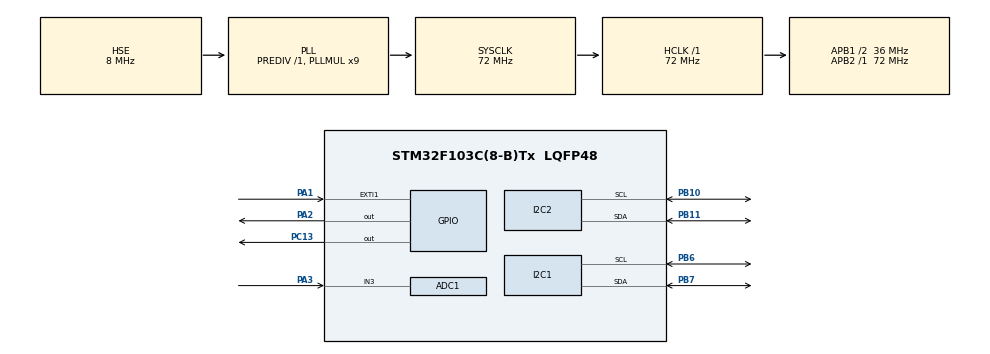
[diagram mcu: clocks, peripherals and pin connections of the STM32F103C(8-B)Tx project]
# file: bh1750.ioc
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ADC1.Channel-1\#ChannelRegularConversion=ADC_CHANNEL_3
ADC1.ContinuousConvMode=ENABLE
ADC1.NbrOfConversionFlag=1
ADC1.Rank-1\#ChannelRegularConversion=1
ADC1.SamplingTime-1\#ChannelRegularConversion=ADC_SAMPLETIME_1CYCLE_5
ADC1.master=1
FREERTOS.Tasks01=defaultTask,24,128,StartDefaultTask,Default,NULL,Dynamic,NULL,NULL;LCDTask,48,128,osLCD,Default,NULL,Dynamic,NULL,NULL;LightTask,28,128,osLight,Default,NULL,Dynamic,NULL,NULL;CounterTask,55,128,osCounter,Default,NULL,Dynamic,NULL,NULL
FREERTOS.configUSE_NEWLIB_REENTRANT=1
I2C1.I2C_Mode=I2C_Fast
I2C2.I2C_Mode=I2C_Fast
Mcu.Family=STM32F1
Mcu.Name=STM32F103C(8-B)Tx
Mcu.Package=LQFP48
NVIC.EXTI1_IRQn=true\:5\:0\:false\:false\:true\:false\:true\:true\:true
NVIC.PriorityGroup=NVIC_PRIORITYGROUP_4
NVIC.TIM1_UP_IRQn=true\:15\:0\:false\:false\:true\:false\:false\:true\:true
NVIC.TimeBase=TIM1_UP_IRQn
NVIC.TimeBaseIP=TIM1
PA1.GPIO_ModeDefaultEXTI=GPIO_MODE_IT_RISING
PA1.Signal=GPXTI1
PA13.Mode=Serial_Wire
PA13.Signal=SYS_JTMS-SWDIO
PA14.Mode=Serial_Wire
PA14.Signal=SYS_JTCK-SWCLK
PA2.GPIO_PuPd=GPIO_PULLDOWN
PA2.Signal=GPIO_Output
PA3.Signal=ADCx_IN3
PB10.Mode=I2C
PB10.Signal=I2C2_SCL
PB11.Mode=I2C
PB11.Signal=I2C2_SDA
PB6.Mode=I2C
PB6.Signal=I2C1_SCL
PB7.Mode=I2C
PB7.Signal=I2C1_SDA
PC13-TAMPER-RTC.Signal=GPIO_Output
PD0-OSC_IN.Mode=HSE-External-Oscillator
PD0-OSC_IN.Signal=RCC_OSC_IN
PD1-OSC_OUT.Mode=HSE-External-Oscillator
PD1-OSC_OUT.Signal=RCC_OSC_OUT
ProjectManager.HeapSize=0x200
ProjectManager.StackSize=0x400
ProjectManager.TargetToolchain=STM32CubeIDE
RCC.ADCPresc=RCC_ADCPCLK2_DIV6
RCC.AHBFreq_Value=72000000
RCC.APB1CLKDivider=RCC_HCLK_DIV2
RCC.APB1Freq_Value=36000000
RCC.APB1TimFreq_Value=72000000
RCC.APB2Freq_Value=72000000
RCC.APB2TimFreq_Value=72000000
RCC.HCLKFreq_Value=72000000
RCC.PLLMUL=RCC_PLL_MUL9
RCC.PLLSourceVirtual=RCC_PLLSOURCE_HSE
RCC.SYSCLKFreq_VALUE=72000000
RCC.SYSCLKSource=RCC_SYSCLKSOURCE_PLLCLK
RCC.USBFreq_Value=72000000
SH.ADCx_IN3.0=ADC1_IN3,IN3
VP_FREERTOS_VS_CMSIS_V2.Mode=CMSIS_V2
VP_SYS_VS_tim1.Mode=TIM1
board=custom

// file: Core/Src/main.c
/* USER CODE BEGIN Header */
/**
  ******************************************************************************
  * @file           : main.c
  * @brief          : Main program body
  ******************************************************************************
  * @attention
  *
  * Copyright (c) 2024 STMicroelectronics.
  * All rights reserved.
  *
  * This software is licensed under terms that can be found in the LICENSE file
  * in the root directory of this software component.
  * If no LICENSE file comes with this software, it is provided AS-IS.
  *
  ******************************************************************************
  */
/* USER CODE END Header */
#include "main.h"
#include "cmsis_os.h"

/* USER CODE BEGIN Includes */
#include "i2c-lcd.h"
#include "bh1750.h"
#include "stdio.h"
/* USER CODE END Includes */

ADC_HandleTypeDef hadc1;

I2C_HandleTypeDef hi2c1;
I2C_HandleTypeDef hi2c2;

/* Definitions for defaultTask */
osThreadId_t defaultTaskHandle;
const osThreadAttr_t defaultTask_attributes = {
  .name = "defaultTask",
  .stack_size = 128 * 4,
  .priority = (osPriority_t) osPriorityNormal,
};
/* Definitions for LCDTask */
osThreadId_t LCDTaskHandle;
const osThreadAttr_t LCDTask_attributes = {
  .name = "LCDTask",
  .stack_size = 128 * 4,
  .priority = (osPriority_t) osPriorityRealtime,
};
/* Definitions for LightTask */
osThreadId_t LightTaskHandle;
const osThreadAttr_t LightTask_attributes = {
  .name = "LightTask",
  .stack_size = 128 * 4,
  .priority = (osPriority_t) osPriorityNormal4,
};
/* Definitions for CounterTask */
osThreadId_t CounterTaskHandle;
const osThreadAttr_t CounterTask_attributes = {
  .name = "CounterTask",
  .stack_size = 128 * 4,
  .priority = (osPriority_t) osPriorityRealtime7,
};

void SystemClock_Config(void);
static void MX_GPIO_Init(void);
static void MX_I2C1_Init(void);
static void MX_I2C2_Init(void);
static void MX_ADC1_Init(void);
void StartDefaultTask(void *argument);
void osLCD(void *argument);
void osLight(void *argument);
void osCounter(void *argument);

/* USER CODE BEGIN 0 */
uint16_t value_lux = 0;
volatile uint16_t secPerHundred = 0;
volatile uint8_t sec,min = 0;
/* USER CODE END 0 */

int main(void)
{

  /* MCU Configuration--------------------------------------------------------*/

  /* Reset of all peripherals, Initializes the Flash interface and the Systick. */
  HAL_Init();

  /* Configure the system clock */
  SystemClock_Config();

  /* Initialize all configured peripherals */
  MX_GPIO_Init();
  MX_I2C1_Init();
  MX_I2C2_Init();
  MX_ADC1_Init();
  /* USER CODE BEGIN 2 */
  HAL_ADC_Start(&hadc1);
  HAL_Delay(500);
  BH1750_Init();
  BH1750_Start();
  lcd_init();
  /* USER CODE END 2 */

  /* Init scheduler */
  osKernelInitialize();

  /* Create the thread(s) */
  /* creation of defaultTask */
  defaultTaskHandle = osThreadNew(StartDefaultTask, NULL, &defaultTask_attributes);

  /* creation of LCDTask */
  LCDTaskHandle = osThreadNew(osLCD, NULL, &LCDTask_attributes);

  /* creation of LightTask */
  LightTaskHandle = osThreadNew(osLight, NULL, &LightTask_attributes);

  /* creation of CounterTask */
  CounterTaskHandle = osThreadNew(osCounter, NULL, &CounterTask_attributes);

  /* Start scheduler */
  osKernelStart();

  /* We should never get here as control is now taken by the scheduler */

  /* Infinite loop */
  while (1)
  {

  }
}

void SystemClock_Config(void)
{
  RCC_OscInitTypeDef RCC_OscInitStruct = {0};
  RCC_ClkInitTypeDef RCC_ClkInitStruct = {0};
  RCC_PeriphCLKInitTypeDef PeriphClkInit = {0};

  /** Initializes the RCC Oscillators according to the specified parameters
  * in the RCC_OscInitTypeDef structure.
  */
  RCC_OscInitStruct.OscillatorType = RCC_OSCILLATORTYPE_HSE;
  RCC_OscInitStruct.HSEState = RCC_HSE_ON;
  RCC_OscInitStruct.HSEPredivValue = RCC_HSE_PREDIV_DIV1;
  RCC_OscInitStruct.HSIState = RCC_HSI_ON;
  RCC_OscInitStruct.PLL.PLLState = RCC_PLL_ON;
  RCC_OscInitStruct.PLL.PLLSource = RCC_PLLSOURCE_HSE;
  RCC_OscInitStruct.PLL.PLLMUL = RCC_PLL_MUL9;
  if (HAL_RCC_OscConfig(&RCC_OscInitStruct) != HAL_OK)
  {
    Error_Handler();
  }

  /** Initializes the CPU, AHB and APB buses clocks
  */
  RCC_ClkInitStruct.ClockType = RCC_CLOCKTYPE_HCLK|RCC_CLOCKTYPE_SYSCLK
                              |RCC_CLOCKTYPE_PCLK1|RCC_CLOCKTYPE_PCLK2;
  RCC_ClkInitStruct.SYSCLKSource = RCC_SYSCLKSOURCE_PLLCLK;
  RCC_ClkInitStruct.AHBCLKDivider = RCC_SYSCLK_DIV1;
  RCC_ClkInitStruct.APB1CLKDivider = RCC_HCLK_DIV2;
  RCC_ClkInitStruct.APB2CLKDivider = RCC_HCLK_DIV1;

  if (HAL_RCC_ClockConfig(&RCC_ClkInitStruct, FLASH_LATENCY_2) != HAL_OK)
  {
    Error_Handler();
  }
  PeriphClkInit.PeriphClockSelection = RCC_PERIPHCLK_ADC;
  PeriphClkInit.AdcClockSelection = RCC_ADCPCLK2_DIV6;
  if (HAL_RCCEx_PeriphCLKConfig(&PeriphClkInit) != HAL_OK)
  {
    Error_Handler();
  }
}

static void MX_ADC1_Init(void)
{

  ADC_ChannelConfTypeDef sConfig = {0};

  /** Common config
  */
  hadc1.Instance = ADC1;
  hadc1.Init.ScanConvMode = ADC_SCAN_DISABLE;
  hadc1.Init.ContinuousConvMode = ENABLE;
  hadc1.Init.DiscontinuousConvMode = DISABLE;
  hadc1.Init.ExternalTrigConv = ADC_SOFTWARE_START;
  hadc1.Init.DataAlign = ADC_DATAALIGN_RIGHT;
  hadc1.Init.NbrOfConversion = 1;
  if (HAL_ADC_Init(&hadc1) != HAL_OK)
  {
    Error_Handler();
  }

  /** Configure Regular Channel
  */
  sConfig.Channel = ADC_CHANNEL_3;
  sConfig.Rank = ADC_REGULAR_RANK_1;
  sConfig.SamplingTime = ADC_SAMPLETIME_1CYCLE_5;
  if (HAL_ADC_ConfigChannel(&hadc1, &sConfig) != HAL_OK)
  {
    Error_Handler();
  }

}

static void MX_I2C1_Init(void)
{

  hi2c1.Instance = I2C1;
  hi2c1.Init.ClockSpeed = 400000;
  hi2c1.Init.DutyCycle = I2C_DUTYCYCLE_2;
  hi2c1.Init.OwnAddress1 = 0;
  hi2c1.Init.AddressingMode = I2C_ADDRESSINGMODE_7BIT;
  hi2c1.Init.DualAddressMode = I2C_DUALADDRESS_DISABLE;
  hi2c1.Init.OwnAddress2 = 0;
  hi2c1.Init.GeneralCallMode = I2C_GENERALCALL_DISABLE;
  hi2c1.Init.NoStretchMode = I2C_NOSTRETCH_DISABLE;
  if (HAL_I2C_Init(&hi2c1) != HAL_OK)
  {
    Error_Handler();
  }

}

static void MX_I2C2_Init(void)
{

  hi2c2.Instance = I2C2;
  hi2c2.Init.ClockSpeed = 400000;
  hi2c2.Init.DutyCycle = I2C_DUTYCYCLE_2;
  hi2c2.Init.OwnAddress1 = 0;
  hi2c2.Init.AddressingMode = I2C_ADDRESSINGMODE_7BIT;
  hi2c2.Init.DualAddressMode = I2C_DUALADDRESS_DISABLE;
  hi2c2.Init.OwnAddress2 = 0;
  hi2c2.Init.GeneralCallMode = I2C_GENERALCALL_DISABLE;
  hi2c2.Init.NoStretchMode = I2C_NOSTRETCH_DISABLE;
  if (HAL_I2C_Init(&hi2c2) != HAL_OK)
  {
    Error_Handler();
  }

}

static void MX_GPIO_Init(void)
{
  GPIO_InitTypeDef GPIO_InitStruct = {0};

  /* GPIO Ports Clock Enable */
  __HAL_RCC_GPIOC_CLK_ENABLE();
  __HAL_RCC_GPIOD_CLK_ENABLE();
  __HAL_RCC_GPIOA_CLK_ENABLE();
  __HAL_RCC_GPIOB_CLK_ENABLE();

  /*Configure GPIO pin Output Level */
  HAL_GPIO_WritePin(GPIOC, GPIO_PIN_13, GPIO_PIN_RESET);

  /*Configure GPIO pin Output Level */
  HAL_GPIO_WritePin(GPIOA, GPIO_PIN_2, GPIO_PIN_RESET);

  /*Configure GPIO pin : PC13 */
  GPIO_InitStruct.Pin = GPIO_PIN_13;
  GPIO_InitStruct.Mode = GPIO_MODE_OUTPUT_PP;
  GPIO_InitStruct.Pull = GPIO_NOPULL;
  GPIO_InitStruct.Speed = GPIO_SPEED_FREQ_LOW;
  HAL_GPIO_Init(GPIOC, &GPIO_InitStruct);

  /*Configure GPIO pin : PA1 */
  GPIO_InitStruct.Pin = GPIO_PIN_1;
  GPIO_InitStruct.Mode = GPIO_MODE_IT_RISING;
  GPIO_InitStruct.Pull = GPIO_NOPULL;
  HAL_GPIO_Init(GPIOA, &GPIO_InitStruct);

  /*Configure GPIO pin : PA2 */
  GPIO_InitStruct.Pin = GPIO_PIN_2;
  GPIO_InitStruct.Mode = GPIO_MODE_OUTPUT_PP;
  GPIO_InitStruct.Pull = GPIO_PULLDOWN;
  GPIO_InitStruct.Speed = GPIO_SPEED_FREQ_LOW;
  HAL_GPIO_Init(GPIOA, &GPIO_InitStruct);

  /* EXTI interrupt init*/
  HAL_NVIC_SetPriority(EXTI1_IRQn, 5, 0);
  HAL_NVIC_EnableIRQ(EXTI1_IRQn);

}

/* USER CODE BEGIN 4 */
volatile uint32_t indexx = 0;
volatile uint8_t counterFlag = 0;
char buf[20];
volatile uint32_t quantity = 0;
uint8_t first = 0;
void HAL_GPIO_EXTI_Callback(uint16_t GPIO_Pin)
{
  /* Prevent unused argument(s) compilation warning */
  UNUSED(GPIO_Pin);
  if(GPIO_Pin == GPIO_PIN_1){
	  if(first == 1){
	  quantity++;
	  counterFlag = 1;}
	  else{
		  first = 1;
	  }
  }
}
/* USER CODE END 4 */

void StartDefaultTask(void *argument)
{
  /* USER CODE BEGIN 5 */
  /* Infinite loop */
  for(;;)
  {
	HAL_GPIO_TogglePin(GPIOC, GPIO_PIN_13);
    osDelay(500);
  }
  /* USER CODE END 5 */
}

void osLCD(void *argument)
{
  /* USER CODE BEGIN osLCD */
  /* Infinite loop */
	char buf[20];
	char arrQuantity[20];
  for(;;)
  {
		lcd_goto_XY (1, 2);
		sprintf(buf,"%d%d ; %d%d ; %d%d%d",min/10,min%10,sec/10,sec%10,secPerHundred/100, (secPerHundred/10)%10, secPerHundred%10);
		lcd_send_string (buf);
		lcd_goto_XY (2, 0);
		sprintf(arrQuantity,"Da luu: %ld", quantity);
		lcd_send_string (arrQuantity);
//		lcd_goto_XY (2, 0);
//		sprintf(arrQuantity,"%ld      ", value_lux);
//		lcd_send_string (arrQuantity);
		osDelay(10/portTICK_PERIOD_MS);
  }
  /* USER CODE END osLCD */
}

void osLight(void *argument)
{
  /* USER CODE BEGIN osLight */
  /* Infinite loop */
  for(;;)
  {
	//value_lux = BH1750_Read();
	//value_lux = HAL_ADC_GetValue(&hadc1);
//	if(value_lux < 800){
//		HAL_GPIO_WritePin(GPIOA, GPIO_PIN_2, SET);
//	}else{
//		HAL_GPIO_WritePin(GPIOA, GPIO_PIN_2, RESET);
//	}
    osDelay(100);
  }
  /* USER CODE END osLight */
}

void osCounter(void *argument)
{
  /* USER CODE BEGIN osCounter */
  /* Infinite loop */
  for(;;)
  {
	  if(BH1750_Read() > 100){
	 // if(HAL_ADC_GetValue(&hadc1) > 100){
		  //HAL_GPIO_WritePin(GPIOA, GPIO_PIN_2, RESET);
		  if(counterFlag == 1){
			  min = sec = 0;
			  secPerHundred = 0;
			  counterFlag = 0;
		  }
			if(++secPerHundred == 1000){
				secPerHundred = 0;
				if(++sec == 60){
					min++;
					sec = 0;
				}
			}
	  }
	  else{
		 // HAL_GPIO_WritePin(GPIOA, GPIO_PIN_2, SET);
		//  if(counterFlag == 0){
			 // secPerHundred = secPerHundred - 60;
			  		  counterFlag = 1;
		//  }

	  }
	osDelay(1/portTICK_PERIOD_MS);
  }
  /* USER CODE END osCounter */
}

void HAL_TIM_PeriodElapsedCallback(TIM_HandleTypeDef *htim)
{
  if (htim->Instance == TIM1) {
    HAL_IncTick();
  }
}

void Error_Handler(void)
{
  __disable_irq();
  while (1)
  {
  }
}
